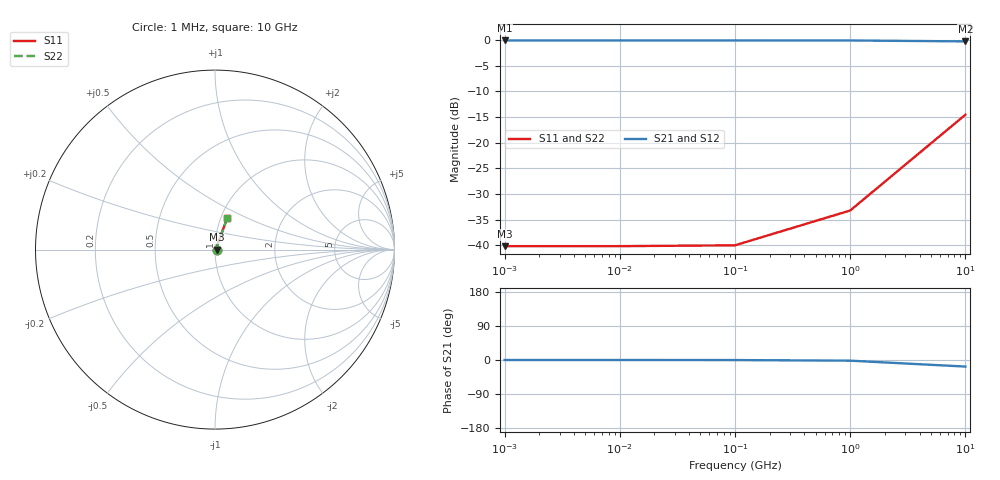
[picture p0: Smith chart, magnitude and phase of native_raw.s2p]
! Sonnet Data File
! From: em Version : 18.53-Lite
! From Project: project
! Data is NOT De-embedded
! Data File Written: 10/07/2026 08:33:03
!< HDATE 10/07/2026 08:33:03
!< MDATE 10/07/2026 08:33:03
# GHZ S RI R 50.00000
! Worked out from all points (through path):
!   5 points, 1 MHz to 10 GHz, reference 50 ohm
!   highest |S21| = -0.09 dB at 1 MHz (marker M1); lowest = -0.3 dB at 10 GHz (marker M2)
!   lowest |S11| = -40.2 dB at 1 MHz (marker M3), VSWR 1.02, Z = 51 + j0.00197 ohm
!   |S11| at or under -10 dB: start of sweep to end of sweep
!   |S22| runs from -40.2 to -14.6 dB; largest |S21 - S12| = 1.5e-12
0.001  0.00982 1.93e-05  0.9902 -3.07e-05  0.9902 -3.07e-05  0.00982 1.93e-05
0.01  0.00982 0.000192  0.9902 -0.000306  0.9902 -0.000306  0.00982 0.000192
0.1  0.00983 0.00192  0.9902 -0.00306  0.9902 -0.00306  0.00983 0.00192
1  0.0105 0.0192  0.9895 -0.0306  0.9895 -0.0306  0.0105 0.0192
10  0.0677 0.1745  0.9257 -0.2887  0.9257 -0.2887  0.0677 0.1745
